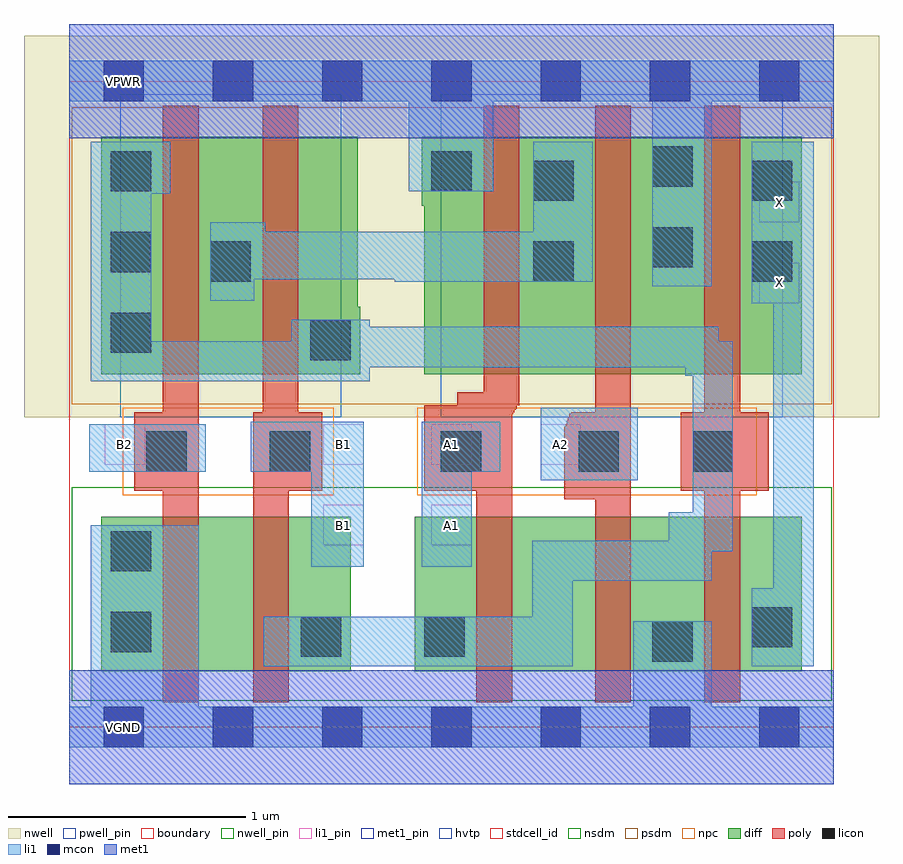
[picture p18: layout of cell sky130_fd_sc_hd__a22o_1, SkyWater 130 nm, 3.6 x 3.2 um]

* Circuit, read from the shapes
.subckt sky130_fd_sc_hd__a22o_1 A1 A2 B1 B2 VGND VNB VPB VPWR X
XM1 n1 B2 VGND VNB sky130_fd_pr__nfet_01v8 w=0.65 l=0.15
XM2 n2 B1 n1 VNB sky130_fd_pr__nfet_01v8 w=0.65 l=0.15
XM3 n3 A1 n2 VNB sky130_fd_pr__nfet_01v8 w=0.65 l=0.15
XM4 VGND A2 n3 VNB sky130_fd_pr__nfet_01v8 w=0.65 l=0.15
XM5 X n2 VGND VNB sky130_fd_pr__nfet_01v8 w=0.65 l=0.15
XM6 n4 B2 n2 VPB sky130_fd_pr__pfet_01v8_hvt w=1 l=0.15
XM7 n2 B1 n4 VPB sky130_fd_pr__pfet_01v8_hvt w=1 l=0.15
XM8 n4 A1 VPWR VPB sky130_fd_pr__pfet_01v8_hvt w=1 l=0.15
XM9 VPWR A2 n4 VPB sky130_fd_pr__pfet_01v8_hvt w=1 l=0.15
XM10 X n2 VPWR VPB sky130_fd_pr__pfet_01v8_hvt w=1 l=0.15
.ends

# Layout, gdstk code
import gdstk
lib = gdstk.Library(unit=1e-6, precision=1e-09)
def R(c, l, rs):  # rectangles x0, y0, x1, y1
    for r in rs: c.add(gdstk.rectangle(r[:2], r[2:], *l))
def A(c, l, x, y, w, h, nx, ny, dx, dy):  # array of equal rectangles
    R(c, l, [(x+i*dx, y+j*dy, x+i*dx+w, y+j*dy+h) for i in range(nx) for j in range(ny)])
nwell_pin = (64, 16)
nwell = (64, 20)
diff = (65, 20)
poly = (66, 20)
licon = (66, 44)
li1_pin = (67, 16)
li1 = (67, 20)
mcon = (67, 44)
met1_pin = (68, 16)
met1 = (68, 20)
hvtp = (78, 44)
stdcell_id = (81, 4)
nsdm = (93, 44)
psdm = (94, 20)
npc = (95, 20)
pwell_pin = (122, 16)
boundary = (235, 4)

sky130_fd_sc_hd__a22o_1 = lib.new_cell('sky130_fd_sc_hd__a22o_1')
R(sky130_fd_sc_hd__a22o_1, nwell_pin, [(0.145,2.635,0.315,2.805)])
R(sky130_fd_sc_hd__a22o_1, nwell, [(-0.19,1.305,3.41,2.91)])
R(sky130_fd_sc_hd__a22o_1, diff, [(0.135,0.235,1.185,0.885), (1.455,0.235,3.085,0.885), (0.135,1.485,1.225,1.77), (1.495,1.485,3.085,2.195), (0.135,1.77,1.215,2.485), (1.485,2.195,3.085,2.485)])
R(sky130_fd_sc_hd__a22o_1, poly, [(0.395,0.105,0.545,0.995), (0.775,0.105,0.925,0.995), (1.715,0.105,1.865,0.995), (2.215,0.105,2.365,0.96), (2.675,0.105,2.825,0.995), (2.085,0.96,2.365,1.265), (0.275,0.995,0.545,1.325), (0.775,0.995,1.065,1.325), (1.495,0.995,1.865,1.32), (2.575,0.995,2.945,1.325), (2.09,1.265,2.365,1.275), (2.095,1.275,2.365,1.29), (2.1,1.29,2.365,1.305), (2.105,1.305,2.365,1.32), (1.495,1.32,1.87,1.325), (2.115,1.32,2.365,1.325), (0.395,1.325,0.545,2.615), (0.815,1.325,0.965,2.615), (1.495,1.325,1.875,1.335), (2.215,1.325,2.365,2.615), (2.675,1.325,2.825,2.615), (1.495,1.335,1.88,1.34), (1.495,1.34,1.885,1.355), (1.635,1.355,1.895,1.41), (1.745,1.41,1.895,2.615)])
A(sky130_fd_sc_hd__a22o_1, licon, 0.175, 1.575, 0.17, 0.17, 1, 3, 0, 0.34)
R(sky130_fd_sc_hd__a22o_1, licon, [(2.455,0.275,2.625,0.445), (0.975,0.295,1.145,0.465), (1.495,0.295,1.665,0.465), (0.175,0.315,0.345,0.485), (2.875,0.335,3.045,0.505), (0.175,0.655,0.345,0.825), (0.325,1.075,0.495,1.245), (0.845,1.075,1.015,1.245), (1.565,1.075,1.735,1.245), (2.145,1.075,2.315,1.245), (2.625,1.075,2.795,1.245), (1.015,1.545,1.185,1.715), (0.595,1.875,0.765,2.045), (1.955,1.875,2.125,2.045), (2.875,1.875,3.045,2.045), (2.455,1.935,2.625,2.105), (1.955,2.215,2.125,2.385), (2.875,2.215,3.045,2.385), (1.525,2.255,1.695,2.425), (2.455,2.275,2.625,2.445)])
R(sky130_fd_sc_hd__a22o_1, li1_pin, [(1.07,0.765,1.24,0.935), (1.525,0.765,1.695,0.935), (0.15,1.105,0.32,1.275), (1.07,1.105,1.24,1.275), (1.525,1.105,1.695,1.275), (1.985,1.105,2.155,1.275), (2.905,1.785,3.075,1.955), (2.905,2.125,3.075,2.295)])
R(sky130_fd_sc_hd__a22o_1, li1, [(0,-0.085,3.22,0.085), (0.09,0.085,0.545,0.85), (2.375,0.085,2.705,0.445), (0.82,0.255,2.12,0.465), (2.875,0.255,3.135,0.585), (1.95,0.465,2.12,0.615), (2.965,0.585,3.135,1.785), (1.95,0.615,2.705,0.74), (1.02,0.675,1.24,1.075), (1.485,0.675,1.695,1.075), (1.95,0.74,2.795,0.785), (2.525,0.785,2.795,0.905), (2.625,0.905,2.795,1.48), (1.985,1.04,2.395,1.345), (0.085,1.075,0.575,1.275), (0.765,1.075,1.24,1.285), (1.485,1.075,1.815,1.285), (0.09,1.455,1.265,1.515), (2.595,1.48,2.795,1.515), (0.09,1.515,2.795,1.625), (0.09,1.625,0.345,2.245), (0.935,1.625,2.735,1.685), (0.935,1.685,1.265,1.715), (2.875,1.785,3.135,2.465), (0.595,1.795,0.78,1.885), (2.455,1.855,2.705,2.635), (1.37,1.875,2.205,1.885), (0.595,1.885,2.205,2.085), (0.595,2.085,0.825,2.125), (1.955,2.085,2.205,2.465), (0.09,2.245,0.425,2.465), (1.43,2.255,1.785,2.635), (0,2.635,3.22,2.805)])
A(sky130_fd_sc_hd__a22o_1, mcon, 0.145, -0.085, 0.17, 0.17, 7, 2, 0.46, 2.72)
R(sky130_fd_sc_hd__a22o_1, met1_pin, [(0.145,-0.085,0.315,0.085), (0.145,2.635,0.315,2.805)])
R(sky130_fd_sc_hd__a22o_1, met1, [(0,-0.24,3.22,0.24), (0,2.48,3.22,2.96)])
R(sky130_fd_sc_hd__a22o_1, hvtp, [(0.215,1.305,1.145,2.665), (1.565,1.305,3.005,2.665)])
R(sky130_fd_sc_hd__a22o_1, stdcell_id, [(0,0,3.22,2.72)])
R(sky130_fd_sc_hd__a22o_1, nsdm, [(0.01,0.11,3.21,1.01)])
R(sky130_fd_sc_hd__a22o_1, psdm, [(0.01,1.36,3.21,2.61)])
R(sky130_fd_sc_hd__a22o_1, npc, [(0.225,0.975,1.115,1.345), (1.465,0.975,2.895,1.345)])
R(sky130_fd_sc_hd__a22o_1, pwell_pin, [(0.145,-0.085,0.315,0.085)])
R(sky130_fd_sc_hd__a22o_1, boundary, [(0,0,3.22,2.72)])
sky130_fd_sc_hd__a22o_1.add(gdstk.Label('VPWR', (0.23,2.72), layer=68, texttype=5))
sky130_fd_sc_hd__a22o_1.add(gdstk.Label('VGND', (0.23,0), layer=68, texttype=5))
sky130_fd_sc_hd__a22o_1.add(gdstk.Label('VPB', (0.23,2.72), layer=64, texttype=5))
sky130_fd_sc_hd__a22o_1.add(gdstk.Label('VNB', (0.23,0), layer=64, texttype=59))
sky130_fd_sc_hd__a22o_1.add(gdstk.Label('B1', (1.155,0.85), layer=67, texttype=5))
sky130_fd_sc_hd__a22o_1.add(gdstk.Label('B1', (1.155,1.19), layer=67, texttype=5))
sky130_fd_sc_hd__a22o_1.add(gdstk.Label('A1', (1.61,0.85), layer=67, texttype=5))
sky130_fd_sc_hd__a22o_1.add(gdstk.Label('A1', (1.61,1.19), layer=67, texttype=5))
sky130_fd_sc_hd__a22o_1.add(gdstk.Label('A2', (2.07,1.19), layer=67, texttype=5))
sky130_fd_sc_hd__a22o_1.add(gdstk.Label('X', (2.99,1.87), layer=67, texttype=5))
sky130_fd_sc_hd__a22o_1.add(gdstk.Label('X', (2.99,2.21), layer=67, texttype=5))
sky130_fd_sc_hd__a22o_1.add(gdstk.Label('B2', (0.235,1.19), layer=67, texttype=5))

lib.write_gds('sky130_fd_sc_hd__a22o_1.gds')
